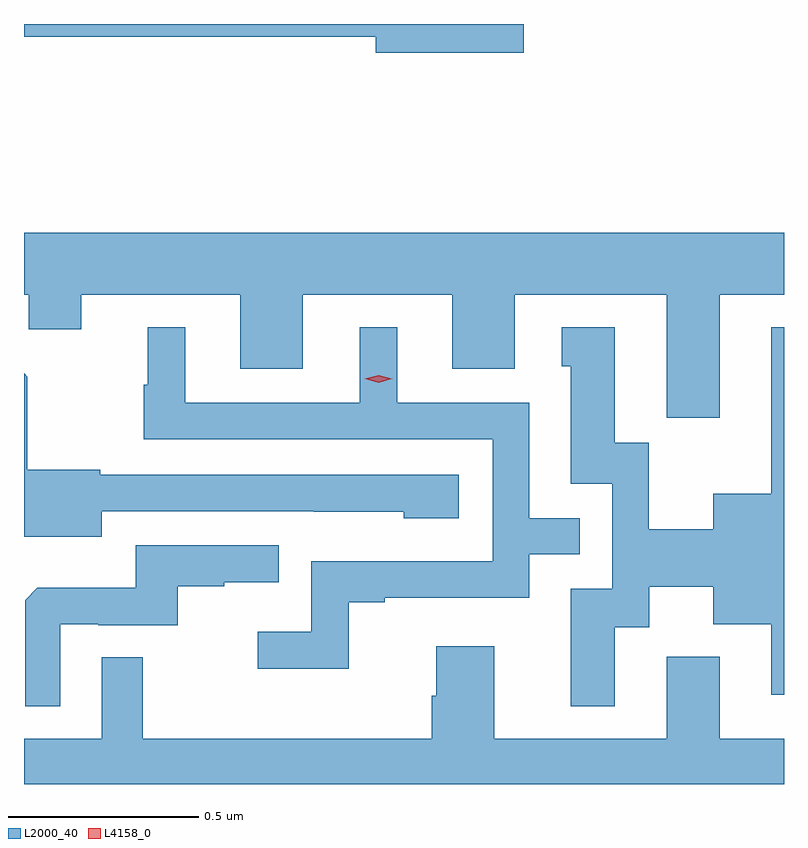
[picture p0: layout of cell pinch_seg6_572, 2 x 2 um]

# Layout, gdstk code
import gdstk
lib = gdstk.Library(unit=1e-6, precision=1e-09)
def P(c, l, *ps):  # polygons
    for p in ps: c.add(gdstk.Polygon(p, *l))
L2000_40 = (2000, 40)
L4158_0 = (4158, 0)

pinch_seg6_572 = lib.new_cell('pinch_seg6_572')
P(pinch_seg6_572, L2000_40, [(507.391,986.677),(506.076,986.677),(506.076,986.644),(507.002,986.644),(507.002,986.602),(507.391,986.602)],
  [(507.907,985.964),(508.076,985.964),(508.076,986.128),(506.076,986.128),(506.076,985.964),(506.089,985.964),(506.089,985.874),(506.227,985.874),(506.227,985.964),(506.645,985.964),(506.645,985.77),(506.809,985.77),(506.809,985.964),(507.203,985.964),(507.203,985.77),(507.367,985.77),(507.367,985.964),(507.767,985.964),(507.767,985.753),(507.768,985.753),(507.768,985.641),(507.907,985.641)],
  [(506.931,985.155),(507.025,985.155),(507.025,985.167),(507.405,985.167),(507.405,985.281),(507.539,985.281),(507.539,985.377),(507.405,985.377),(507.405,985.68),(507.058,985.68),(507.058,985.879),(506.96,985.879),(506.96,985.68),(506.5,985.68),(506.5,985.879),(506.402,985.879),(506.402,985.728),(506.391,985.728),(506.391,985.584),(507.309,985.584),(507.309,985.263),(506.832,985.263),(506.832,985.078),(506.691,985.078),(506.691,984.98),(506.931,984.98)],
  [(507.631,985.09),(507.721,985.09),(507.721,985.196),(507.89,985.196),(507.89,985.097),(508.043,985.097),(508.043,984.912),(508.076,984.912),(508.076,985.879),(508.043,985.879),(508.043,985.441),(507.89,985.441),(507.89,985.348),(507.72,985.348),(507.72,985.575),(507.631,985.575),(507.631,985.879),(507.491,985.879),(507.491,985.776),(507.515,985.776),(507.515,985.467),(507.624,985.467),(507.624,985.191),(507.515,985.191),(507.515,984.882),(507.631,984.882)],
  [(506.281,985.395),(506.839,985.395),(506.839,985.394),(507.075,985.394),(507.075,985.376),(507.22,985.376),(507.22,985.491),(506.277,985.491),(506.277,985.504),(506.085,985.504),(506.085,985.749),(506.076,985.758),(506.076,985.328),(506.281,985.328)],
  [(506.172,985.098),(506.272,985.098),(506.272,985.095),(506.48,985.095),(506.48,985.197),(506.603,985.197),(506.603,985.208),(506.747,985.208),(506.747,985.305),(506.37,985.305),(506.37,985.193),(506.111,985.193),(506.079,985.161),(506.079,984.881),(506.172,984.881)],
  [(508.076,984.796),(507.907,984.796),(507.907,985.012),(507.767,985.012),(507.767,984.796),(507.313,984.796),(507.313,985.039),(507.161,985.039),(507.161,984.909),(507.149,984.909),(507.149,984.796),(506.389,984.796),(506.389,985.01),(506.28,985.01),(506.28,984.796),(506.076,984.796),(506.076,984.677),(508.076,984.677)])
P(pinch_seg6_572, L4158_0, [(507.009,985.733),(506.973,985.743),(506.973,985.743),(506.973,985.744),(507.009,985.753),(507.044,985.744),(507.045,985.743),(507.044,985.743)])

lib.write_gds('pinch_seg6_572.gds')
